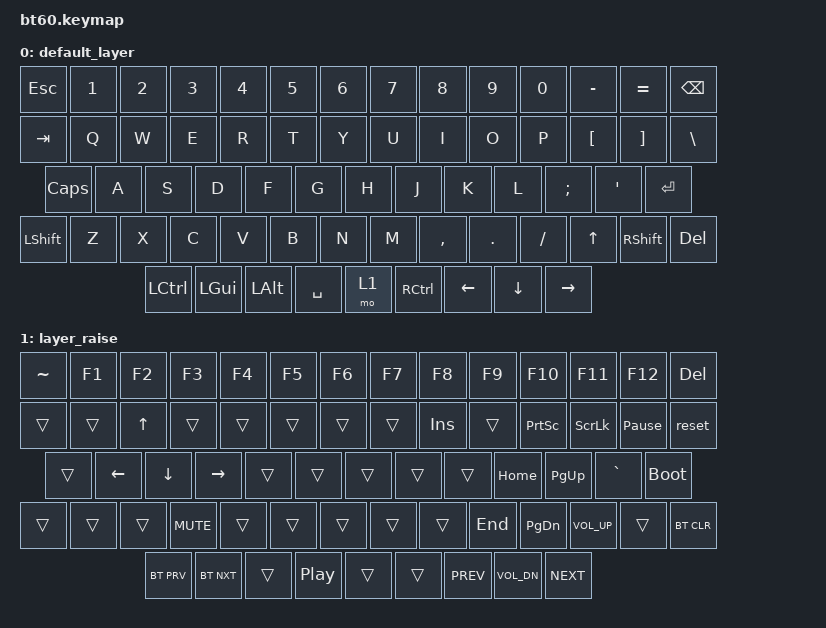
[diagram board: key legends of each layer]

/*
 * Copyright (c) 2020 The ZMK Contributors
 *
 * SPDX-License-Identifier: MIT
 */


/* THIS FILE WAS GENERATED!
 *
 * This file was generated automatically. You may or may not want to
 * edit it directly.
 */

#include <behaviors.dtsi>
#include <dt-bindings/zmk/keys.h>

#include <dt-bindings/zmk/bt.h>

/ {
    keymap {
		compatible = "zmk,keymap";

		default_layer {
				// ------------------------------------------------------------------------------------------
				// | ESC |  1  |  2  |  3  |  4  |  5  |  6  |  7  |  8  |  9  |  0  |  -  |  =  |   BKSP   |
				// | TAB  |  Q  |  W  |  E  |  R  |  T  |  Y  |  U  |  I  |  O  |  P  |  [  |  ]  |   |    |
				// | CAPS  |  A  |  S  |  D  |  F  |  G  |  H  |  J  |  K  |  L  |  ;  |  '  |     ENTER    |
				// |  SHIFT    |  Z  |  X  |  C  |  V  |  B  |  N  |  M  |  ,  |  .  | /   |  SHIFT  | DEL |
				// |  CTL  |  WIN  |  ALT  |            SPACE               | 1 | LEFT | DOWN | UP | RIGHT |
				// ------------------------------------------------------------------------------------------
			bindings = <
				&kp ESC &kp N1 &kp N2 &kp N3 &kp N4 &kp N5 &kp N6 &kp N7 &kp  N8   &kp  N9 &kp  N0  &kp MINUS &kp EQUAL &kp BSPC
				&kp TAB  &kp Q  &kp W  &kp E  &kp R  &kp T  &kp Y  &kp U  &kp  I    &kp  O  &kp  P   &kp LBKT &kp RBKT  &kp BSLH
				&kp CLCK  &kp A  &kp S  &kp D  &kp F  &kp G  &kp H  &kp J  &kp  K    &kp  L  &kp SEMI &kp SQT           &kp RET
				&kp LSHFT  &kp Z  &kp X  &kp C  &kp V  &kp B  &kp N  &kp M  &kp COMMA &kp DOT &kp FSLH          &kp UP &kp RSHFT &kp DEL
				&kp LCTRL &kp LGUI &kp LALT            &kp SPACE                          &mo 1 &kp RCTRL &kp LEFT &kp DOWN &kp RIGHT
			>;
		};

        layer_raise {
            bindings = <
				&kp TILDE &kp F1 &kp F2 &kp F3 &kp F4 &kp F5 &kp F6 &kp F7 &kp  F8   &kp  F9 &kp  F10  &kp F11 &kp F12   &kp DEL
				&trans &trans &kp UP &trans &trans &trans &trans &trans &kp INS &trans &kp PSCRN &kp SLCK &kp PAUSE_BREAK &reset
				&trans    &kp LEFT &kp DOWN &kp RIGHT &trans &trans &trans &trans &trans &kp HOME &kp PG_UP  &kp GRAVE   &bootloader 
				&trans &trans &trans &kp C_MUTE &trans &trans &trans &trans &trans &kp END &kp PG_DN &kp C_VOL_UP &trans &bt BT_CLR
				&bt BT_PRV &bt BT_NXT  &trans              &kp C_PLAY_PAUSE                            &trans &trans &kp C_PREV &kp C_VOL_DN &kp C_NEXT
			>;
        };

    };
};
